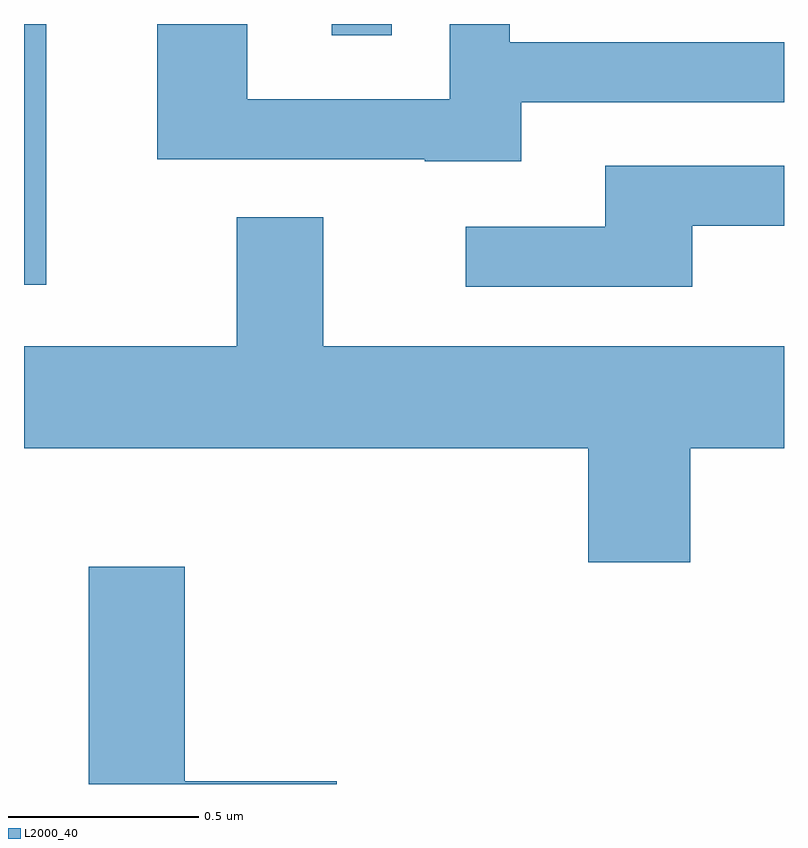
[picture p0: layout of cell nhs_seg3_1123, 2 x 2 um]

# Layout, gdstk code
import gdstk
lib = gdstk.Library(unit=1e-6, precision=1e-09)
def R(c, l, rs):  # rectangles x0, y0, x1, y1
    for r in rs: c.add(gdstk.rectangle(r[:2], r[2:], *l))
def P(c, l, *ps):  # polygons
    for p in ps: c.add(gdstk.Polygon(p, *l))
L2000_40 = (2000, 40)

nhs_seg3_1123 = lib.new_cell('nhs_seg3_1123')
R(nhs_seg3_1123, L2000_40, [(193.611,1144.206,193.669,1144.892), (194.421,1144.863,194.579,1144.892)])
P(nhs_seg3_1123, L2000_40, [(194.919,1144.686),(195.611,1144.686),(195.611,1144.844),(194.889,1144.844),(194.889,1144.892),(194.731,1144.892),(194.731,1144.694),(194.199,1144.694),(194.199,1144.892),(193.961,1144.892),(193.961,1144.536),(194.665,1144.536),(194.665,1144.531),(194.919,1144.531)],
  [(195.369,1144.361),(195.611,1144.361),(195.611,1144.519),(195.141,1144.519),(195.141,1144.359),(194.773,1144.359),(194.773,1144.201),(195.369,1144.201)],
  [(195.364,1143.776),(195.611,1143.776),(195.611,1144.044),(194.399,1144.044),(194.399,1144.384),(194.171,1144.384),(194.171,1144.044),(193.611,1144.044),(193.611,1143.776),(195.096,1143.776),(195.096,1143.476),(195.364,1143.476)],
  [(194.434,1142.899),(194.034,1142.899),(194.034,1143.464),(193.781,1143.464),(193.781,1142.892),(194.434,1142.892)])

lib.write_gds('nhs_seg3_1123.gds')
